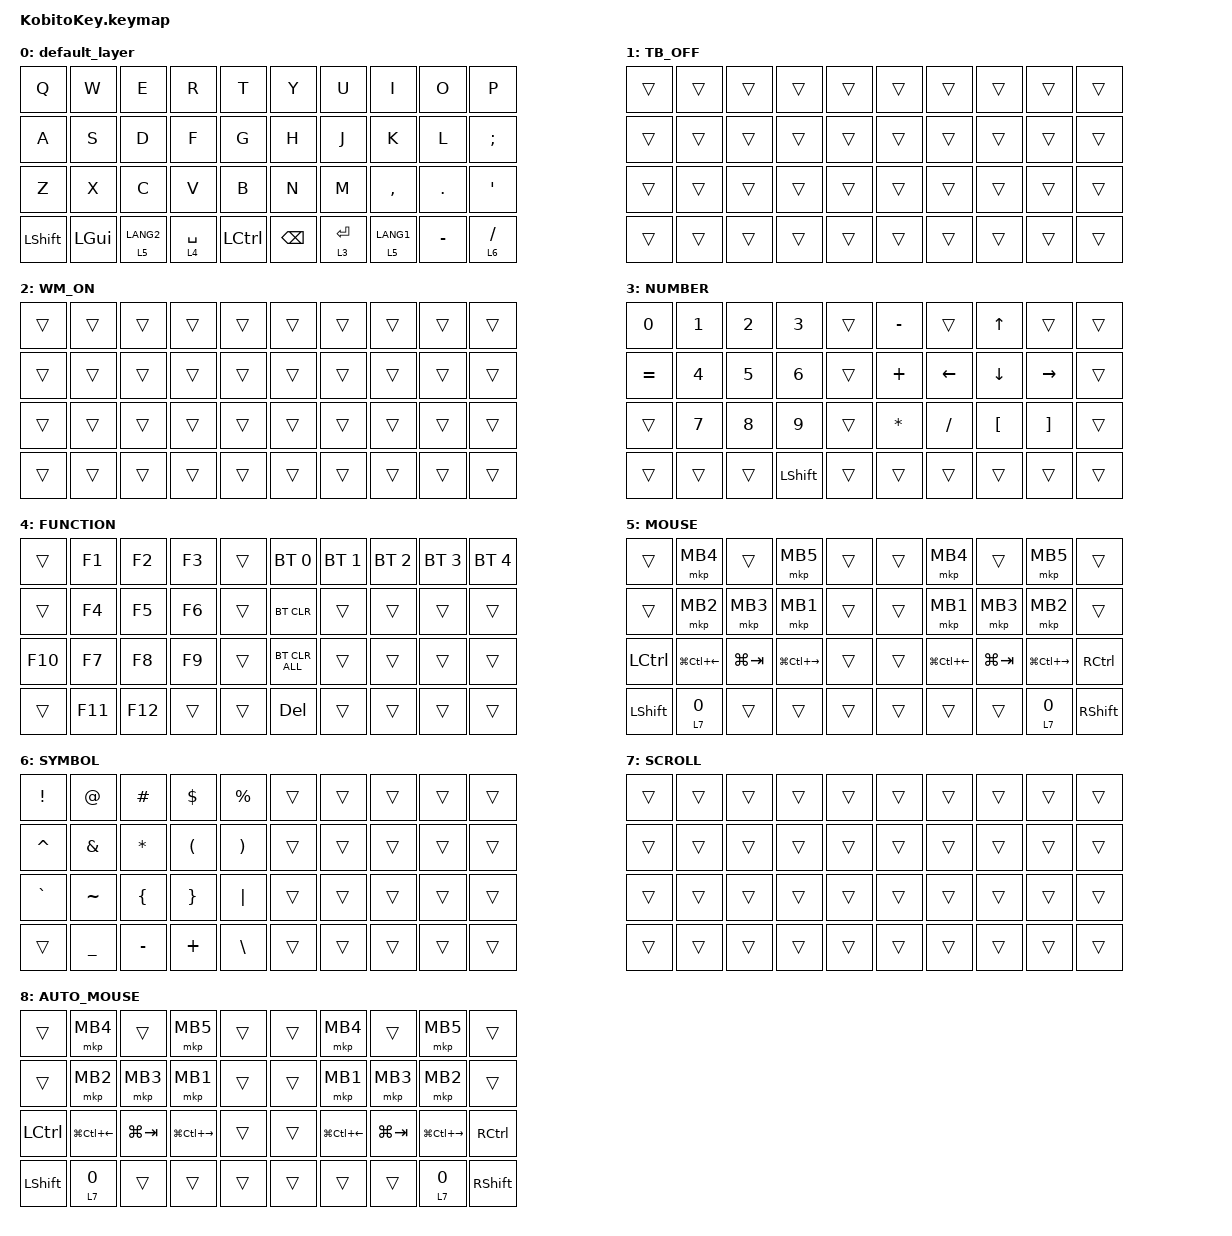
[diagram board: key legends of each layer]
#include <input/processors.dtsi>
#include <behaviors.dtsi>
#include <dt-bindings/zmk/bt.h>
#include <dt-bindings/zmk/keys.h>
#include <dt-bindings/zmk/pointing.h>

/*
 * レイヤー構成:
 *   0: DEFAULT    (基本レイヤー)
 *   1: TB_OFF     (トラックボール自動検知OFFフラグ用・全透過 / 12+13 または 16+17 でトグル)
 *   2: WM_ON      (Wrist Mouse 常時カーソルONフラグ用・全透過 / 22+23 または 26+27 でトグル)
 *   3: NUMBER     (36 長押し)
 *   4: FUNCTION   (33 長押し)
 *   5: MOUSE      (32 または 37 長押し — トグル状態に関わらずトラボ＋Wrist Mouse 両方有効)
 *   6: SYMBOL     (39 長押し)
 *   7: SCROLL     (MOUSE / AUTO_MOUSE 中に 31 または 38 を 0.3秒以上長押し — トラボ・Wrist Mouse 両方縦横ホイール)
 *   8: AUTO_MOUSE (左右トラックボール移動時の自動マウスレイヤー)
 */

/ {
    behaviors {
        /* 0.3秒(300ms)以上の長押しで上下左右ホイール操作レイヤー(Layer 7)を有効化、短押しは無効(0) */
        lt_scroll: layer_tap_scroll {
            compatible = "zmk,behavior-hold-tap";
            #binding-cells = <2>;
            flavor = "tap-preferred";
            tapping-term-ms = <300>;
            bindings = <&mo>, <&kp>;
        };

        /* 指定レイヤーを明示的にOFFにするビヘイビア */
        tog_off: toggle_layer_off {
            compatible = "zmk,behavior-toggle-layer";
            #binding-cells = <1>;
            toggle-mode = "off";
        };

        /* トラックボール動作（オートマウス＋カーソル移動）の ON/OFF トグル（発動中の AUTO_MOUSE も即座に解除） */
        tb_toggle: tb_toggle {
            compatible = "zmk,behavior-macro";
            #binding-cells = <0>;
            wait-ms = <0>;
            tap-ms = <0>;
            bindings = <&macro_tap &tog 1 &tog_off 8>;
        };
    };

    combos {
        compatible = "zmk,combos";

        combo_esc {
            timeout-ms = <50>;
            key-positions = <0 1>;
            bindings = <&kp ESC>;
        };

        combo_tab {
            timeout-ms = <50>;
            key-positions = <10 11>;
            bindings = <&kp TAB>;
        };

        /*
         * 12+13 (D+F) または 16+17 (J+K) 同時押し:
         * 左右トラックボールのポインティング動作（オートマウス＋カーソル移動）ON/OFF トグル
         * ※ トラボに触れた直後（AUTO_MOUSE Layer 8 滞留中 5秒間）でも確実に切り替えられるよう 8 も対象に含め、
         *   NUMBER(3) / FUNCTION(4) / 手動MOUSE(5) / SYMBOL(6) / SCROLL(7) では誤爆しないように制限
         */
        combo_tb_toggle_l {
            timeout-ms = <50>;
            key-positions = <12 13>;
            layers = <0 1 2 8>;
            bindings = <&tb_toggle>;
        };

        combo_tb_toggle_r {
            timeout-ms = <50>;
            key-positions = <16 17>;
            layers = <0 1 2 8>;
            bindings = <&tb_toggle>;
        };

        /*
         * 22+23 (C+V) または 26+27 (M+,) 同時押し:
         * Wrist Mouse 常時カーソル移動 ON/OFF トグル（どちらの状態でも 32/37 長押し時は反応）
         */
        combo_wm_toggle_l {
            timeout-ms = <50>;
            key-positions = <22 23>;
            layers = <0 1 2 8>;
            bindings = <&tog 2>;
        };

        combo_wm_toggle_r {
            timeout-ms = <50>;
            key-positions = <26 27>;
            layers = <0 1 2 8>;
            bindings = <&tog 2>;
        };

        /*
         * 28+29 (. + ') 同時押し: Right Shift
         */
        combo_shift {
            timeout-ms = <50>;
            key-positions = <28 29>;
            layers = <0 1 2 8>;
            bindings = <&kp RSHFT>;
        };

        /*
         * 38+39 (- + /) 同時押し: Right Alt
         */
        combo_alt {
            timeout-ms = <50>;
            key-positions = <38 39>;
            layers = <0 1 2 8>;
            bindings = <&kp RALT>;
        };
    };

    keymap {
        compatible = "zmk,keymap";

        /* Layer 0: DEFAULT */
        default_layer {
            bindings = <
&kp Q      &kp W     &kp E        &kp R        &kp T      &kp Y     &kp U        &kp I        &kp O      &kp P
&kp A      &kp S     &kp D        &kp F        &kp G      &kp H     &kp J        &kp K        &kp L      &kp SEMI
&kp Z      &kp X     &kp C        &kp V        &kp B      &kp N     &kp M        &kp COMMA    &kp DOT    &kp APOS
&kp LSHFT  &kp LGUI  &lt 5 LANG2  &lt 4 SPACE  &kp LCTRL  &kp BSPC  &lt 3 ENTER  &lt 5 LANG1  &kp MINUS  &lt 6 SLASH
            >;
        };

        /* Layer 1: トラックボール自動検知無効化フラグ用透過レイヤー (12+13 / 16+17 でトグル) */
        layer1 {
            label = "TB_OFF";
            bindings = <
&trans  &trans  &trans  &trans  &trans  &trans  &trans  &trans  &trans  &trans
&trans  &trans  &trans  &trans  &trans  &trans  &trans  &trans  &trans  &trans
&trans  &trans  &trans  &trans  &trans  &trans  &trans  &trans  &trans  &trans
&trans  &trans  &trans  &trans  &trans  &trans  &trans  &trans  &trans  &trans
            >;
        };

        /* Layer 2: Wrist Mouse 常時カーソル有効化フラグ用透過レイヤー (22+23 / 26+27 でトグル) */
        layer2 {
            label = "WM_ON";
            bindings = <
&trans  &trans  &trans  &trans  &trans  &trans  &trans  &trans  &trans  &trans
&trans  &trans  &trans  &trans  &trans  &trans  &trans  &trans  &trans  &trans
&trans  &trans  &trans  &trans  &trans  &trans  &trans  &trans  &trans  &trans
&trans  &trans  &trans  &trans  &trans  &trans  &trans  &trans  &trans  &trans
            >;
        };

        /* Layer 3: NUMBER (36長押し) */
        layer3 {
            label = "NUMBER";
            bindings = <
&kp N0     &kp N1  &kp N2  &kp N3     &trans  &kp MINUS  &trans     &kp UP    &trans     &trans
&kp EQUAL  &kp N4  &kp N5  &kp N6     &trans  &kp PLUS   &kp LEFT   &kp DOWN  &kp RIGHT  &trans
&trans     &kp N7  &kp N8  &kp N9     &trans  &kp ASTRK  &kp SLASH  &kp LBKT  &kp RBKT   &trans
&trans     &trans  &trans  &kp LSHFT  &trans  &trans     &trans     &trans    &trans     &trans
            >;
        };

        /* Layer 4: FUNCTION (33長押し) */
        layer4 {
            label = "FUNCTION";
            bindings = <
&trans   &kp F1   &kp F2   &kp F3  &trans    &bt BT_SEL 0    &bt BT_SEL 1  &bt BT_SEL 2  &bt BT_SEL 3  &bt BT_SEL 4
&trans   &kp F4   &kp F5   &kp F6  &trans    &bt BT_CLR      &trans        &trans        &trans        &trans
&kp F10  &kp F7   &kp F8   &kp F9  &trans    &bt BT_CLR_ALL  &trans        &trans        &trans        &trans
&trans   &kp F11  &kp F12  &trans  &trans    &kp DEL         &trans        &trans        &trans        &trans
            >;
        };

        /* Layer 5: MOUSE (32または37長押し: トグル状態に関わらず wrist_mouse ＋ 左右トラボのすべてが有効) */
        layer5 {
            label = "MOUSE";
            bindings = <
&trans     &mkp MB4          &trans       &mkp MB5           &trans  &trans  &mkp MB4          &trans       &mkp MB5           &trans
&trans     &mkp MB2          &mkp MB3     &mkp MB1           &trans  &trans  &mkp MB1          &mkp MB3     &mkp MB2           &trans
&kp LCTRL  &kp LG(LC(LEFT))  &kp LG(TAB)  &kp LG(LC(RIGHT))  &trans  &trans  &kp LG(LC(LEFT))  &kp LG(TAB)  &kp LG(LC(RIGHT))  &kp RCTRL
&kp LSHFT  &lt_scroll 7 0    &trans       &trans             &trans  &trans  &trans            &trans       &lt_scroll 7 0     &kp RSHFT
            >;
        };

        /* Layer 6: SYMBOL (39長押し) */
        layer6 {
            label = "SYMBOL";
            bindings = <
&kp EXCL   &kp AT     &kp HASH   &kp DLLR  &kp PRCNT  &trans  &trans  &trans  &trans  &trans
&kp CARET  &kp AMPS   &kp ASTRK  &kp LPAR  &kp RPAR   &trans  &trans  &trans  &trans  &trans
&kp GRAVE  &kp TILDE  &kp LBRC   &kp RBRC  &kp PIPE   &trans  &trans  &trans  &trans  &trans
&trans     &kp UNDER  &kp MINUS  &kp PLUS  &kp BSLH   &trans  &trans  &trans  &trans  &trans
            >;
        };

        /* Layer 7: SCROLL (31または38を0.3秒以上長押し) */
        layer7 {
            label = "SCROLL";
            bindings = <
&trans  &trans  &trans  &trans  &trans  &trans  &trans  &trans  &trans  &trans
&trans  &trans  &trans  &trans  &trans  &trans  &trans  &trans  &trans  &trans
&trans  &trans  &trans  &trans  &trans  &trans  &trans  &trans  &trans  &trans
&trans  &trans  &trans  &trans  &trans  &trans  &trans  &trans  &trans  &trans
            >;
        };

        /* Layer 8: AUTO_MOUSE (左右トラックボール操作時のオートマウス専用レイヤー) */
        layer8 {
            label = "AUTO_MOUSE";
            bindings = <
&trans     &mkp MB4          &trans       &mkp MB5           &trans  &trans  &mkp MB4          &trans       &mkp MB5           &trans
&trans     &mkp MB2          &mkp MB3     &mkp MB1           &trans  &trans  &mkp MB1          &mkp MB3     &mkp MB2           &trans
&kp LCTRL  &kp LG(LC(LEFT))  &kp LG(TAB)  &kp LG(LC(RIGHT))  &trans  &trans  &kp LG(LC(LEFT))  &kp LG(TAB)  &kp LG(LC(RIGHT))  &kp RCTRL
&kp LSHFT  &lt_scroll 7 0    &trans       &trans             &trans  &trans  &trans            &trans       &lt_scroll 7 0     &kp RSHFT
            >;
        };
    };
};
